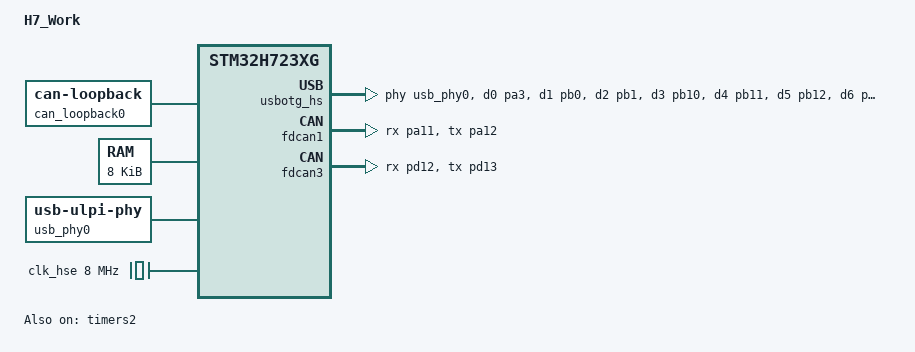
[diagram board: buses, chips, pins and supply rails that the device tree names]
/dts-v1/;

#include <st/h7/stm32h723Xg.dtsi>
#include <st/h7/stm32h723vgtx-pinctrl.dtsi>
#include <zephyr/dt-bindings/memory-attr/memory-attr-arm.h>

/ {
	model = "H7_Work";
	compatible = "candlelightfd";

	aliases {
		rtt-custom-section = &rtt_region;
	};

	chosen {
		zephyr,sram = &sram0;
		zephyr,flash = &flash0;
		zephyr,canbus2 = &fdcan1;
		zephyr,canbus3 = &fdcan3;
	};

	cannectivity: cannectivity {
		compatible = "cannectivity";
		timestamp-counter = <&counters2>;

		channel1 {
			compatible = "cannectivity-channel";
			can-controller = <&fdcan1>;
		};

		channel3 {
			compatible = "cannectivity-channel";
			can-controller = <&fdcan3>;
		};
	};

	gs_usb0: gs_usb0 {
		compatible = "gs_usb";
		label = "gs_usb";
	};

	can_loopback0: can_loopback {
		compatible = "zephyr,can-loopback";
		status = "okay";
	};

	rtt_region: memory@2404e000 {
		compatible = "zephyr,memory-region", "mmio-sram";
		reg = <0x2404e000 DT_SIZE_K(8)>;
		zephyr,memory-region = "RTT_NOCACHE";
		zephyr,memory-attr = <DT_MEM_ARM_MPU_RAM_NOCACHE>;
	};

	usb_phy0: usb-phy-ulpi {
		compatible = "usb-ulpi-phy";
		#phy-cells = <0>;
	};
};

&sram0 {
	reg = <0x24000000 DT_SIZE_K(312)>;
};

/* Adjust the pll for a SYSTEM Clock of 480 MHz  */
&clk_hse {
	hse-bypass;
	clock-frequency = <DT_FREQ_M(8)>;
	status = "okay";
};

&pll {
	clocks = <&clk_hse>;
	div-m = <4>;   // 2 MHz to PLL（VCO）
	mul-n = <260>; // 520MHz
	div-p = <1>;   // 520MHz to SYS
	div-q = <13>;   // 20 MHz
	div-r = <13>;   // 20MHz to UART234578
	fracn = <0>;
	status = "okay";
};

&pll2 {
	clocks = <&clk_hse>;
	div-m = <1>;  // 8   MHz to PLL2（VCO）
	mul-n = <25>; // 200 MHz
	div-p = <2>;  // 100 MHz
	div-q = <2>;  // 100 MHz to FDCAN
	div-r = <2>;  // 100 MHz
	fracn = <0>;
	status = "okay";
};

&rcc {
	clocks = <&pll>;
	clock-frequency = <DT_FREQ_M(520)>;     /* 520 MHz SCLK*/
	d1cpre = <1>;                           /* 520 MHz CPU Clocks*/
	hpre = <4>;				/* 130 MHz */
	d1ppre = <1>;				/* 130 MHz APB3 Peripheral Clock */
	d2ppre1 = <1>;				/* 130 MHz APB1 Peripheral Clock */
	d2ppre2 = <1>;				/* 130 MHz APB2 Peripheral Clock */
	d3ppre = <1>;				/* 130 MHz APB4 Peripheral Clock */
	timpre;					/* Timer Clock Prescaler */
};

&clk_hsi48 {
	status = "okay";
};

zephyr_udc0: &usbotg_hs {
	pinctrl-0 = <&usb_otg_hs_ulpi_d0_pa3
		     &usb_otg_hs_ulpi_d1_pb0
		     &usb_otg_hs_ulpi_d2_pb1
		     &usb_otg_hs_ulpi_d3_pb10
		     &usb_otg_hs_ulpi_d4_pb11
		     &usb_otg_hs_ulpi_d5_pb12
		     &usb_otg_hs_ulpi_d6_pb13
		     &usb_otg_hs_ulpi_d7_pb5
		     &usb_otg_hs_ulpi_ck_pa5
		     &usb_otg_hs_ulpi_stp_pc0
		     &usb_otg_hs_ulpi_dir_pc2_c
		     &usb_otg_hs_ulpi_nxt_pc3_c>;
	pinctrl-names = "default";
	interrupts = <74 0>, <75 0>, <76 0>, <77 0>;
	num-bidir-endpoints = <9>;
	phys = <&usb_phy0>;
	maximum-speed = "high-speed";
	ram-size = <DT_SIZE_K(4)>;
	clocks = <&rcc STM32_CLOCK_BUS_AHB1 0x06000000>,
		 <&rcc STM32_SRC_HSI48 USB_SEL(3)>;
	status = "okay";
};

&fdcan1 {
	/* 本板(ULPI 高速板)原理图: FDCAN1_TX -> U2-71(PA12) -> U3(TXD)
	 *                        FDCAN1_RX -> U2-70(PA11) -> U3(RXD)
	 * PD0/PD1 在板上是悬空的，配成 PD0/PD1 会导致报文根本到不了收发器，
	 * 控制器收不到 ACK -> bus-off -> can_send 返回 -ENETUNREACH(-114)
	 */
	pinctrl-0 = <&fdcan1_rx_pa11 &fdcan1_tx_pa12>;
	pinctrl-names = "default";
	clocks = <&rcc STM32_CLOCK(APB1_2, 8)>,
		 <&rcc STM32_SRC_PLL2_Q FDCAN_SEL(2)>;
	status = "okay";
};

&fdcan3 {
	pinctrl-0 = <&fdcan3_rx_pd12 &fdcan3_tx_pd13>;
	pinctrl-names = "default";
	clocks = <&rcc STM32_CLOCK(APB1_2, 8)>,
		 <&rcc STM32_SRC_PLL2_Q FDCAN_SEL(2)>;
	status = "okay";
};

&timers2 {
	status = "okay";
	st,prescaler = <239>;

	counters2: counter {
		status = "okay";
	};
};

&pwr {
	power-supply = "ldo";
};
